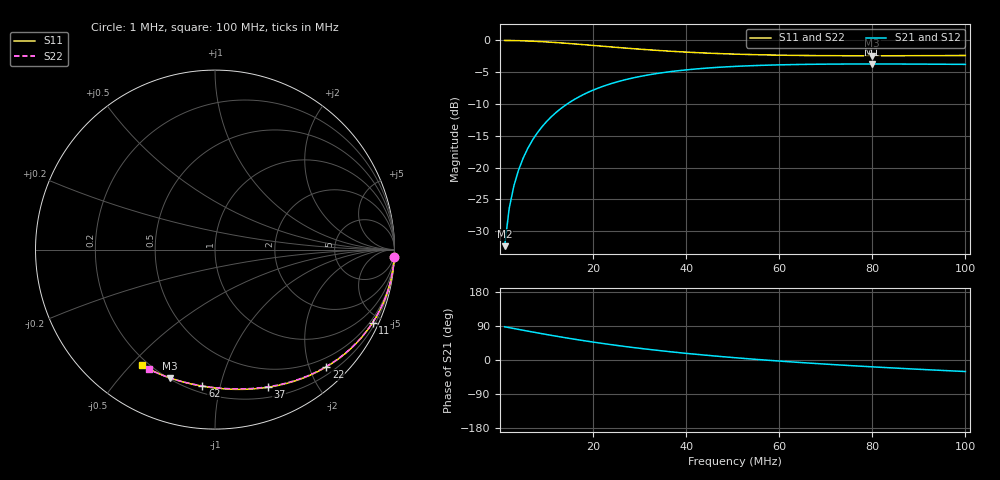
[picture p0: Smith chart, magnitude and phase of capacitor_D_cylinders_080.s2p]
!Created with skrf (http://scikit-rf.org).
# MHz S RI R 50.0
!freq ReS11 ImS11 ReS21 ImS21 ReS12 ImS12 ReS22 ImS22
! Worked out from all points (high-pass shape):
!   100 points, 1 MHz to 100 MHz, reference 50 ohm
!   highest |S21| = -3.70 dB at 80 MHz (marker M1); lowest = -32.4 dB at 1 MHz (marker M2)
!   |S21| within 3 dB of the highest: 24.29 MHz to end of sweep
!   lowest |S11| = -2.4 dB at 80 MHz (marker M3), VSWR 7.25, Z = 10.3 - j34.5 ohm
!   |S11| at or under -10 dB: nowhere
!   |S22| runs from -2.4 to 0.0 dB; largest |S21 - S12| = 5.8e-15
!   S11 on the Smith chart (normalised r, x): 1 MHz: 0, -49; 11 MHz: 0.35, -4.50; 22 MHz: 0.33, -2.29; 37 MHz: 0.30, -1.41; 62 MHz: 0.24, -0.88; 100 MHz: 0.18, -0.54
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1  0.9989 -0.0407  0.000977 0.0241  0.000977 0.0241  0.9989 -0.0404
! Port Impedance 50.00000000000000 0.00000000000000 50.00000000000000 0.00000000000000
2  0.9955 -0.0812  0.0039 0.048  0.0039 0.048  0.9956 -0.0805
3  0.99 -0.1213  0.00872 0.0715  0.00872 0.0715  0.9901 -0.1203
4  0.9823 -0.1608  0.0154 0.0945  0.0154 0.0945  0.9826 -0.1595
5  0.9726 -0.1995  0.0238 0.1167  0.0238 0.1167  0.973 -0.1979
6  0.961 -0.2374  0.034 0.1381  0.034 0.1381  0.9614 -0.2354
7  0.9475 -0.2742  0.0456 0.1584  0.0456 0.1584  0.9481 -0.2719
9  0.9155 -0.344  0.0731 0.1955  0.0731 0.1955  0.9165 -0.3412
11  0.8778 -0.4083  0.1052 0.2273  0.1052 0.2273  0.8794 -0.405
14  0.8134 -0.4932  0.1593 0.2642  0.1593 0.2642  0.8158 -0.4893
18  0.7186 -0.5846  0.2367 0.2928  0.2367 0.2928  0.7223 -0.5801
22  0.6208 -0.653  0.3133 0.3002  0.3133 0.3002  0.6259 -0.6481
28  0.4792 -0.7201  0.4163 0.2802  0.4163 0.2802  0.4866 -0.7151
34  0.3512 -0.7568  0.4986 0.2353  0.4986 0.2353  0.361 -0.7521
37  0.293 -0.7672  0.5315 0.2074  0.5315 0.2074  0.304 -0.7629
44  0.1715 -0.7781  0.5889 0.1353  0.5889 0.1353  0.1853 -0.7749
51  0.0672 -0.7768  0.6232 0.0607  0.6232 0.0607  0.0839 -0.7751
62  -0.0706 -0.761  0.6429 -0.0505  0.6429 -0.0505  -0.0491 -0.7627
67  -0.1251 -0.7503  0.6419 -0.0967  0.6419 -0.0967  -0.1015 -0.7538
80  -0.2495 -0.7152  0.6207 -0.2024  0.6207 -0.2024  -0.2201 -0.7248
84  -0.2835 -0.7027  0.6104 -0.2308  0.6104 -0.2308  -0.2524 -0.7145
100  -0.4041 -0.6453  0.5593 -0.3279  0.5593 -0.3279  -0.3657 -0.6678
